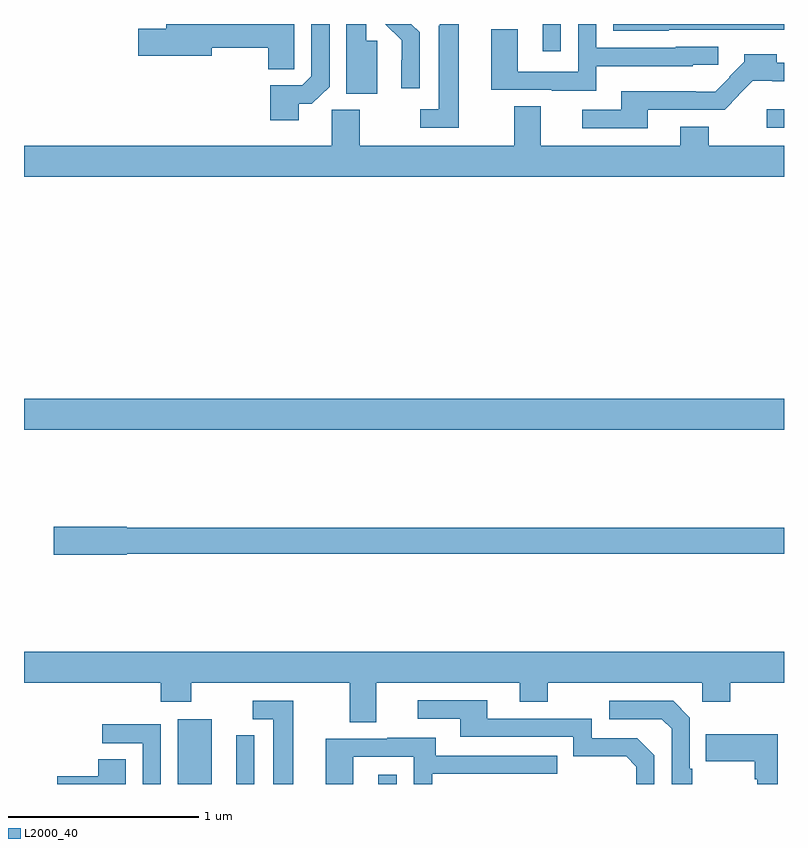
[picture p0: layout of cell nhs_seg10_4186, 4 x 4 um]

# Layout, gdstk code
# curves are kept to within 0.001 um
import gdstk
lib = gdstk.Library(unit=1e-6, precision=1e-09)
def R(c, l, rs):  # rectangles x0, y0, x1, y1
    for r in rs: c.add(gdstk.rectangle(r[:2], r[2:], *l))
def P(c, l, *ps):  # polygons
    for p in ps: c.add(gdstk.Polygon(p, *l))
L2000_40 = (2000, 40)

nhs_seg10_4186 = lib.new_cell('nhs_seg10_4186')
R(nhs_seg10_4186, L2000_40, [(345.809,1250.5,345.988,1250.842), (346.865,1250.5,346.962,1250.548), (345,1252.364,349,1252.528), (348.909,1253.955,349,1254.052), (347.729,1254.357,347.826,1254.5)])
P(nhs_seg10_4186, L2000_40, [(348.393,1254.471),(348.825,1254.471),(348.825,1254.47),(349,1254.47),(349,1254.5),(348.102,1254.5),(348.102,1254.464),(348.393,1254.464)],
  [(347.082,1254.456),(347.038,1254.5),(346.902,1254.5),(346.988,1254.414),(346.988,1254.308),(346.986,1254.308),(346.986,1254.162),(347.082,1254.162)],
  [(346.447,1254.079),(346.515,1254.079),(346.608,1254.171),(346.608,1254.5),(346.512,1254.5),(346.512,1254.225),(346.464,1254.177),(346.295,1254.177),(346.295,1253.994),(346.447,1253.994)],
  [(346.422,1254.37),(346.423,1254.37),(346.423,1254.5),(345.749,1254.5),(345.749,1254.476),(345.6,1254.476),(345.6,1254.334),(345.988,1254.334),(345.988,1254.376),(346.285,1254.376),(346.285,1254.262),(346.422,1254.262)],
  [(347.287,1254.5),(347.187,1254.5),(347.187,1254.491),(347.183,1254.491),(347.183,1254.051),(347.085,1254.051),(347.085,1253.955),(347.287,1253.955)],
  [(348.013,1254.278),(348.519,1254.278),(348.519,1254.285),(348.654,1254.285),(348.654,1254.381),(348.429,1254.381),(348.429,1254.375),(348.012,1254.375),(348.012,1254.5),(347.916,1254.5),(347.916,1254.249),(347.598,1254.249),(347.598,1254.473),(347.459,1254.473),(347.459,1254.153),(347.777,1254.153),(347.777,1254.149),(348.013,1254.149)],
  [(346.858,1254.411),(346.801,1254.411),(346.801,1254.5),(346.697,1254.5),(346.697,1254.133),(346.858,1254.133)],
  [(348.283,1254.048),(348.687,1254.048),(348.763,1254.125),(348.761,1254.127),(348.835,1254.201),(349,1254.2),(349,1254.297),(348.961,1254.297),(348.961,1254.34),(348.79,1254.34),(348.79,1254.301),(348.711,1254.222),(348.714,1254.219),(348.638,1254.143),(348.536,1254.143),(348.536,1254.145),(348.143,1254.145),(348.143,1254.048),(347.937,1254.048),(347.937,1253.952),(348.283,1253.952)],
  [(349,1253.86),(348.603,1253.86),(348.603,1253.959),(348.455,1253.959),(348.455,1253.86),(347.719,1253.86),(347.719,1254.068),(347.579,1254.068),(347.579,1253.86),(346.767,1253.86),(346.767,1254.048),(346.62,1254.048),(346.62,1253.86),(345,1253.86),(345,1253.696),(349,1253.696)],
  [(345.54,1251.712),(349,1251.712),(349,1251.848),(345.54,1251.848),(345.54,1251.854),(345.156,1251.854),(345.156,1251.707),(345.54,1251.707)],
  [(346.855,1251.032),(347.609,1251.032),(347.609,1250.933),(347.757,1250.933),(347.757,1251.032),(348.57,1251.032),(348.57,1250.933),(348.717,1250.933),(348.717,1251.032),(349,1251.032),(349,1251.196),(345,1251.196),(345,1251.032),(345.719,1251.032),(345.719,1250.933),(345.879,1250.933),(345.879,1251.032),(346.715,1251.032),(346.715,1250.824),(346.855,1250.824)],
  [(348.318,1250.652),(348.228,1250.742),(347.988,1250.742),(347.988,1250.844),(347.437,1250.844),(347.437,1250.94),(347.073,1250.94),(347.073,1250.844),(347.297,1250.844),(347.297,1250.748),(347.892,1250.748),(347.892,1250.645),(348.169,1250.645),(348.222,1250.592),(348.222,1250.5),(348.318,1250.5)],
  [(348.517,1250.581),(348.504,1250.581),(348.504,1250.85),(348.417,1250.937),(348.081,1250.937),(348.081,1250.841),(348.357,1250.841),(348.408,1250.79),(348.408,1250.5),(348.517,1250.5)],
  [(346.417,1250.937),(346.203,1250.937),(346.203,1250.841),(346.313,1250.841),(346.313,1250.5),(346.417,1250.5)],
  [(345.72,1250.814),(345.411,1250.814),(345.411,1250.715),(345.624,1250.715),(345.624,1250.5),(345.72,1250.5)],
  [(348.967,1250.761),(348.589,1250.761),(348.589,1250.621),(348.846,1250.621),(348.846,1250.525),(348.858,1250.525),(348.858,1250.5),(348.967,1250.5)],
  [(346.212,1250.756),(346.116,1250.756),(346.116,1250.602),(346.118,1250.602),(346.118,1250.5),(346.212,1250.5)],
  [(346.734,1250.643),(347.052,1250.643),(347.052,1250.5),(347.148,1250.5),(347.148,1250.553),(347.807,1250.553),(347.807,1250.649),(347.167,1250.649),(347.167,1250.743),(346.913,1250.743),(346.913,1250.739),(346.589,1250.739),(346.589,1250.5),(346.734,1250.5)],
  [(345.535,1250.63),(345.392,1250.63),(345.392,1250.54),(345.174,1250.54),(345.174,1250.5),(345.535,1250.5)])

lib.write_gds('nhs_seg10_4186.gds')
